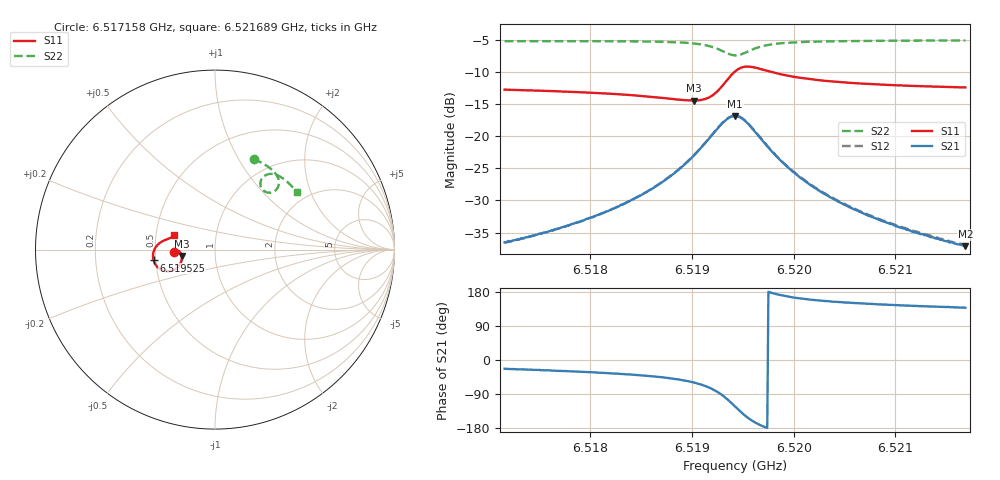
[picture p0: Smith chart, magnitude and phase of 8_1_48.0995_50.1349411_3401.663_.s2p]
#  HZ  S  RI  R  50.00
! Rohde & Schwarz Vector Network Analyzer
! Rohde-Schwarz,ZNB20-2Port,1311601062101988,3.16
! Created: UTC 12/23/2023, 3:35:22 AM
! freq[Hz]  re:S11  im:S11  re:S21  im:S21  re:S12  im:S12  re:S22  im:S22
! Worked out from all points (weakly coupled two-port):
!   401 points, 6.517158 GHz to 6.521689 GHz, reference 50 ohm
!   highest |S21| = -16.87 dB at 6.519423 GHz (marker M1); lowest = -37.1 dB at 6.521689 GHz (marker M2)
!   lowest |S11| = -14.5 dB at 6.519015 GHz (marker M3), VSWR 1.47, Z = 34.2 - j2.5 ohm
!   |S11| at or under -10 dB: start of sweep to 6.519418 GHz; 6.519781 GHz to end of sweep
!   |S22| runs from -7.4 to -5.1 dB; largest |S21 - S12| = 0.0043
!   S11 on the Smith chart (normalised r, x): 6.517158 GHz: 0.63, -0.02; 6.519525 GHz: 0.49, -0.07; 6.521689 GHz: 0.62, +0.10
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6.5171576e9  -0.2299 -0.0137  0.0137 -0.00584  0.0137 -0.00536  0.2153 0.5049
6.5175767e9  -0.2249 -0.00789  0.016 -0.00817  0.0162 -0.00772  0.2462 0.4909
6.5179166e9  -0.2195 -0.00421  0.0187 -0.0114  0.0191 -0.0107  0.2712 0.4773
6.5183131e9  -0.2111 -0.00295  0.0234 -0.0176  0.0241 -0.0169  0.3012 0.4578
6.5186756e9  -0.1996 -0.0086  0.03 -0.0297  0.031 -0.0288  0.3294 0.4328
6.5188455e9  -0.1927 -0.017  0.034 -0.0409  0.0351 -0.04  0.3427 0.4161
6.5190154e9  -0.1859 -0.0352  0.0359 -0.0604  0.038 -0.0596  0.3539 0.3913
6.5191174e9  -0.1854 -0.0549  0.0332 -0.0792  0.0357 -0.0788  0.3561 0.3702
6.519208e9  -0.1935 -0.0801  0.0221 -0.102  0.0252 -0.1021  0.3502 0.3466
6.5193326e9  -0.2386 -0.1171  -0.0237 -0.1311  -0.0204 -0.1329  0.3147 0.3181
6.5194232e9  -0.2986 -0.1125  -0.0773 -0.1208  -0.0744 -0.1239  0.2731 0.3268
6.5194685e9  -0.3243 -0.0931  -0.0981 -0.101  -0.096 -0.1045  0.2583 0.3437
6.5195252e9  -0.3422 -0.0605  -0.1102 -0.0704  -0.1092 -0.0741  0.2526 0.3692
6.5196385e9  -0.3393 -0.00408  -0.1016 -0.0226  -0.1018 -0.0256  0.2699 0.4061
6.5197517e9  -0.3199 0.0262  -0.0814 0.000265  -0.0822 -0.00208  0.2959 0.4199
6.5199557e9  -0.2904 0.0477  -0.0546 0.0127  -0.0556 0.0114  0.332 0.4195
6.5201822e9  -0.2708 0.0564  -0.0381 0.0148  -0.0389 0.0138  0.3592 0.4088
6.5203521e9  -0.261 0.0599  -0.0305 0.0143  -0.0314 0.0137  0.3749 0.3994
6.5205674e9  -0.2519 0.0636  -0.024 0.0134  -0.0248 0.0129  0.3918 0.3869
6.5209412e9  -0.2408 0.0689  -0.0172 0.0119  -0.0178 0.0115  0.4161 0.3644
6.521383e9  -0.2313 0.075  -0.0125 0.0102  -0.013 0.00998  0.4406 0.3374
6.5216889e9  -0.226 0.0792  -0.0103 0.00937  -0.0109 0.00926  0.4559 0.3186
